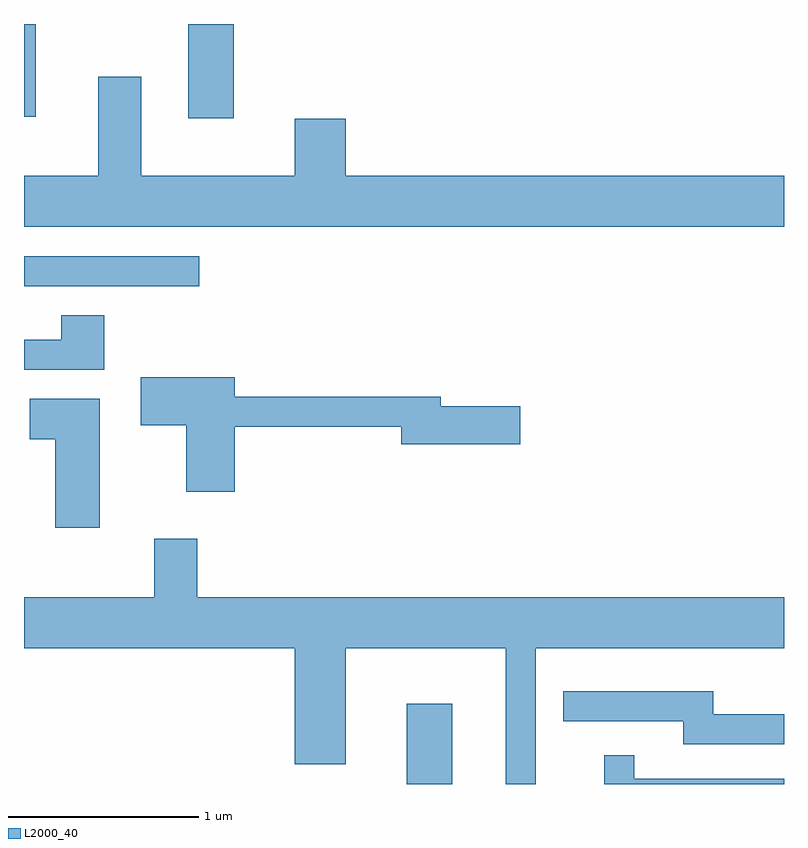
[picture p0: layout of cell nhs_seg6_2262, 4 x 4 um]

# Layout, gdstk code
import gdstk
lib = gdstk.Library(unit=1e-6, precision=1e-09)
def R(c, l, rs):  # rectangles x0, y0, x1, y1
    for r in rs: c.add(gdstk.rectangle(r[:2], r[2:], *l))
def P(c, l, *ps):  # polygons
    for p in ps: c.add(gdstk.Polygon(p, *l))
L2000_40 = (2000, 40)

nhs_seg6_2262 = lib.new_cell('nhs_seg6_2262')
R(nhs_seg6_2262, L2000_40, [(255.626,1598.162,255.864,1598.584), (253.611,1600.781,254.533,1600.939), (254.476,1601.666,254.714,1602.162), (253.611,1601.673,253.674,1602.162)])
P(nhs_seg6_2262, L2000_40, [(257.611,1601.364),(255.304,1601.364),(255.304,1601.664),(255.036,1601.664),(255.036,1601.364),(254.229,1601.364),(254.229,1601.884),(254.001,1601.884),(254.001,1601.364),(253.611,1601.364),(253.611,1601.096),(257.611,1601.096)],
  [(254.034,1600.629),(253.806,1600.629),(253.806,1600.499),(253.611,1600.499),(253.611,1600.341),(254.034,1600.341)],
  [(254.719,1600.041),(255.596,1600.041),(255.596,1599.951),(256.224,1599.951),(256.224,1600.149),(255.804,1600.149),(255.804,1600.199),(254.719,1600.199),(254.719,1600.304),(254.226,1600.304),(254.226,1600.051),(254.466,1600.051),(254.466,1599.701),(254.719,1599.701)],
  [(254.009,1600.189),(253.641,1600.189),(253.641,1599.976),(253.776,1599.976),(253.776,1599.511),(254.009,1599.511)],
  [(256.304,1598.876),(257.611,1598.876),(257.611,1599.144),(254.524,1599.144),(254.524,1599.454),(254.296,1599.454),(254.296,1599.144),(253.611,1599.144),(253.611,1598.876),(255.036,1598.876),(255.036,1598.266),(255.304,1598.266),(255.304,1598.876),(256.146,1598.876),(256.146,1598.162),(256.304,1598.162)],
  [(257.611,1598.529),(257.239,1598.529),(257.239,1598.649),(256.448,1598.649),(256.448,1598.491),(257.081,1598.491),(257.081,1598.371),(257.611,1598.371)],
  [(257.611,1598.189),(256.824,1598.189),(256.824,1598.313),(256.666,1598.313),(256.666,1598.162),(257.611,1598.162)])

lib.write_gds('nhs_seg6_2262.gds')
